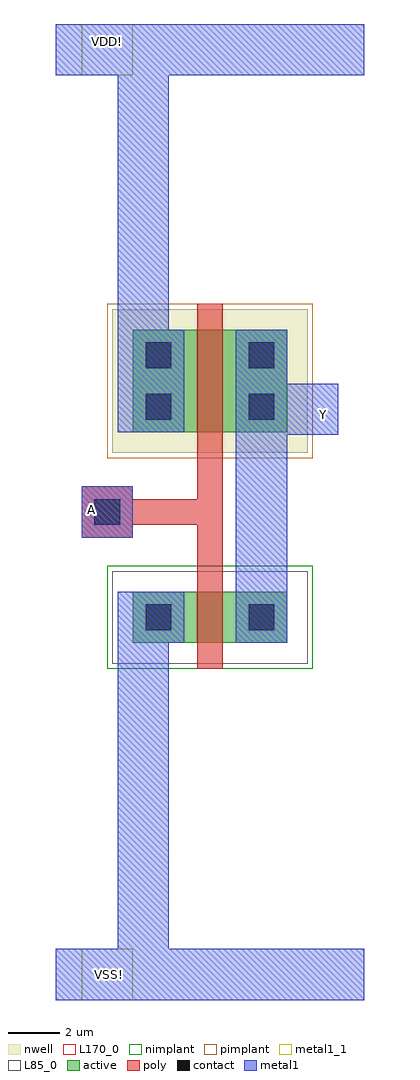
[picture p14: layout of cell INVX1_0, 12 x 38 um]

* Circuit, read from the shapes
.subckt INVX1_0 A VDD! VSS! Y
M1 Y A VSS! VSUBS nfet w=2u l=1u
M2 Y A VDD! n1 pfet w=4u l=1u
.ends

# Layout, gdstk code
from math import pi, radians
import gdstk
lib = gdstk.Library(unit=1e-6, precision=5e-10)
def R(c, l, rs):  # rectangles x0, y0, x1, y1
    for r in rs: c.add(gdstk.rectangle(r[:2], r[2:], *l))
def A(c, l, x, y, w, h, nx, ny, dx, dy):  # array of equal rectangles
    R(c, l, [(x+i*dx, y+j*dy, x+i*dx+w, y+j*dy+h) for i in range(nx) for j in range(ny)])
active = (1, 0)
nwell = (2, 0)
poly = (3, 0)
nimplant = (4, 0)
pimplant = (5, 0)
contact = (6, 0)
metal1 = (7, 0)
metal1_1 = (7, 1)
L85_0 = (85, 0)
L170_0 = (170, 0)

nmos3_cdns_641374622490 = lib.new_cell('nmos3_CDNS_641374622490')
R(nmos3_cdns_641374622490, active, [(1,1,7,3)])
R(nmos3_cdns_641374622490, poly, [(3.5,0,4.5,5), (3.6,3.5,4.4,3.9)])
R(nmos3_cdns_641374622490, nimplant, [(0,0,8,4)])
R(nmos3_cdns_641374622490, contact, [(1.5,1.5,2.5,2.5), (5.5,1.5,6.5,2.5), (5.5,1.5,6.5,2.5)])
R(nmos3_cdns_641374622490, metal1, [(1,1,3,3), (5,1,7,3), (1.3,1.3,2.7,2.7), (5.3,1.3,6.7,2.7)])
R(nmos3_cdns_641374622490, L85_0, [(0.2,0.2,7.8,3.8)])
R(nmos3_cdns_641374622490, L170_0, [(4.5,1,7,3)])

pmos3_cdns_641374622492 = lib.new_cell('pmos3_CDNS_641374622492')
R(pmos3_cdns_641374622492, active, [(1,1,7,5)])
R(pmos3_cdns_641374622492, nwell, [(0.2,0.2,7.8,5.8)])
R(pmos3_cdns_641374622492, poly, [(3.5,0,4.5,7), (3.6,5.6,4.4,5.9)])
R(pmos3_cdns_641374622492, pimplant, [(0,0,8,6)])
R(pmos3_cdns_641374622492, contact, [(1.5,1.5,2.5,2.5), (5.5,1.5,6.5,2.5), (5.5,1.5,6.5,2.5), (1.5,3.5,2.5,4.5), (5.5,3.5,6.5,4.5)])
R(pmos3_cdns_641374622492, metal1, [(1,1,3,5), (5,1,7,5), (1.3,1.3,2.7,2.7), (5.3,1.3,6.7,2.7)])
R(pmos3_cdns_641374622492, L170_0, [(4.5,1,7,5)])

m1_po_cdns_641374622490 = lib.new_cell('M1_PO_CDNS_641374622490')
R(m1_po_cdns_641374622490, poly, [(-1,-1,1,1)])
R(m1_po_cdns_641374622490, contact, [(-0.5,-0.5,0.5,0.5)])
R(m1_po_cdns_641374622490, metal1, [(-1,-1,1,1)])

invx1_0 = lib.new_cell('INVX1_0')
R(invx1_0, metal1, [(1,17,3,19), (7,21,11,23)])
A(invx1_0, metal1_1, 1, -1, 2, 2, 1, 3, 0, 18)
R(invx1_0, metal1_1, [(9,21,11,23)])
invx1_0.add(gdstk.FlexPath([(6,14.5),(6,18)], 1, ends=(0, 0.5), simple_path=True, layer=3, datatype=0))  # poly
invx1_0.add(gdstk.FlexPath([(6,18),(2.6,18)], 1, ends=(0.5, 0), simple_path=True, layer=3, datatype=0))  # poly
invx1_0.add(gdstk.FlexPath([(6,18),(6,21.6)], 1, ends=(0.5, 0), simple_path=True, layer=3, datatype=0))  # poly
invx1_0.add(gdstk.FlexPath([(0,0),(12,0)], 2, ends="flush", simple_path=True, layer=7, datatype=0))  # metal1
invx1_0.add(gdstk.FlexPath([(3.4,14.9),(3.4,0)], 2, ends=(0, 1), simple_path=True, layer=7, datatype=0))  # metal1
invx1_0.add(gdstk.FlexPath([(0,36),(12,36)], 2, ends="flush", simple_path=True, layer=7, datatype=0))  # metal1
invx1_0.add(gdstk.FlexPath([(3.4,21.1),(3.4,36)], 2, ends=(0, 1), simple_path=True, layer=7, datatype=0))  # metal1
invx1_0.add(gdstk.FlexPath([(8,12.9),(8,25.1)], 2, ends="flush", simple_path=True, layer=7, datatype=0))  # metal1
invx1_0.add(gdstk.Reference(nmos3_cdns_641374622490, (10,11.9), rotation=pi, x_reflection=True))
invx1_0.add(gdstk.Reference(pmos3_cdns_641374622492, (10,26.1), rotation=pi))
invx1_0.add(gdstk.Reference(m1_po_cdns_641374622490, (2,18)))
invx1_0.add(gdstk.Label('VSS!', (2.1,0), layer=7, texttype=3))
invx1_0.add(gdstk.Label('VDD!', (2,36.3), layer=7, texttype=3))
invx1_0.add(gdstk.Label('Y', (10.4,21.8), layer=7, texttype=3))
invx1_0.add(gdstk.Label('A', (1.4,18.1), layer=7, texttype=3))

lib.write_gds('INVX1_0.gds')
